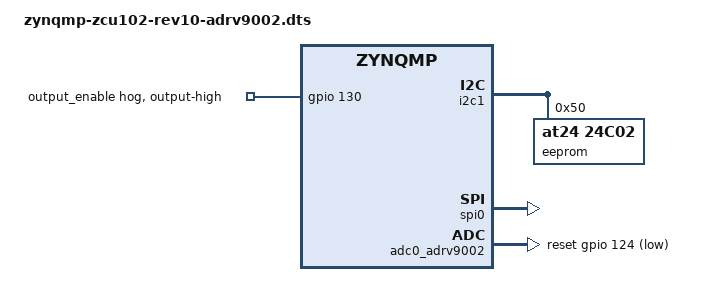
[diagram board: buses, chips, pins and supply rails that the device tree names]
// SPDX-License-Identifier: GPL-2.0
/*
 * Analog Devices ADRV9002
 * Copyright (C) 2020 Analog Devices Inc.
 */
#include "zynqmp-zcu102-rev1.0.dts"
#include <dt-bindings/interrupt-controller/irq.h>
#include <dt-bindings/gpio/gpio.h>

&i2c1 {
	i2c-mux@75 {
		i2c@1 { /* HPC1 */
			#address-cells = <1>;
			#size-cells = <0>;
			reg = <1>;

			eeprom@50 {
				compatible = "at24,24c02";
				reg = <0x50>;
			};

		};
	};
};

/ {
	fpga_axi  {
		interrupt-parent = <&gic>;
		compatible = "simple-bus";
		#address-cells = <0x1>;
		#size-cells = <0x1>;
		ranges = <0 0 0 0xffffffff>;

		rx_dma: dma@84A30000 {
			compatible = "adi,axi-dmac-1.00.a";
			reg = <0x84A30000 0x10000>;
			#dma-cells = <1>;
			interrupts = <0 109 IRQ_TYPE_LEVEL_HIGH>;
			clocks = <&zynqmp_clk 71>;

			adi,channels {
				#size-cells = <0>;
				#address-cells = <1>;

				dma-channel@0 {
					reg = <0>;
					adi,source-bus-width = <64>;
					adi,source-bus-type = <2>;
					adi,destination-bus-width = <64>;
					adi,destination-bus-type = <0>;
				};
			};
		};

		tx_dma: dma@84A50000 {
			compatible = "adi,axi-dmac-1.00.a";
			reg = <0x84A50000 0x10000>;
			#dma-cells = <1>;
			interrupts = <0 107 IRQ_TYPE_LEVEL_HIGH>;
			clocks = <&zynqmp_clk 71>;

			adi,channels {
				#size-cells = <0>;
				#address-cells = <1>;

				dma-channel@0 {
					reg = <0>;
					adi,source-bus-width = <64>;
					adi,source-bus-type = <0>;
					adi,destination-bus-width = <64>;
					adi,destination-bus-type = <2>;
				};
			};
		};

		axi_adrv9002_core_rx: axi-adrv9002-rx-lpc@84A00000 {
			compatible = "adi,axi-adrv9002-rx-1.0";
			reg = <0x84A00000 0x6000>;
			clocks = <&adc0_adrv9002 0>;
			dmas = <&rx_dma 0>;
			dma-names = "rx";
			spibus-connected = <&adc0_adrv9002>;
		};

		axi_adrv9002_core_tx: axi-adrv9002-tx-lpc@84A04000 {
			compatible = "adi,axi-adrv9002-tx-1.0";
			reg = <0x84A02000 0x2000>;
			clocks = <&adc0_adrv9002 2>;
			clock-names = "sampl_clk";
			dmas = <&tx_dma 0>;
			dma-names = "tx";
			adi,axi-dds-default-scale = <0x800>;
			adi,axi-dds-default-frequency = <2000000>;
		};

		axi_sysid_0: axi-sysid-0@85000000 {
			compatible = "adi,axi-sysid-1.00.a";
			reg = <0x85000000 0x10000>;
		};

    };
};

&spi0 {
	status = "okay";
};

#define fmc_spi spi0

#include "adi-adrv9002.dtsi"

/*
Name		HDL	Linux
mcs		53	107
output_enable	52	106
tx2_enable	51	105
tx1_enable	50	104
rx2_enable	49	103
rx1_enable	48	102
sm_fan_tach	47	101
reset_trx	46	100
mode		45	99
gp_int		44	98
dgpio_11	43	97
dgpio_10	42	96
dgpio_9		41	95
dgpio_8		40	94
dgpio_7		39	93
dgpio_6		38	92
dgpio_5		37	91
dgpio_4		36	90
dgpio_3		35	89
dgpio_2		34	88
dgpio_1		33	87
dgpio_0		32	86
*/

&adc0_adrv9002 {
	reset-gpios = <&gpio 124 GPIO_ACTIVE_LOW>;
	//int-gpios = <&gpio 98 0>;
};

&gpio {
	output_enable {
		gpio-hog;
		gpios = <130 0>;
		output-high;
		line-name = "output_enable";
	};
};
